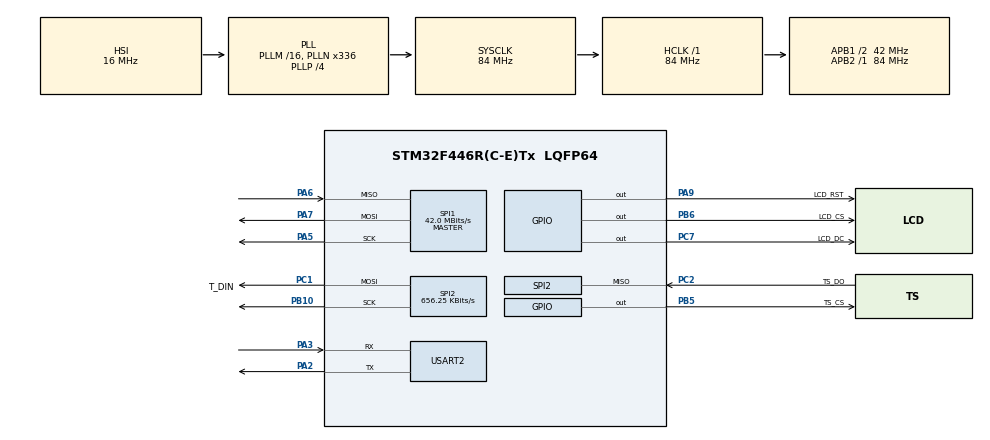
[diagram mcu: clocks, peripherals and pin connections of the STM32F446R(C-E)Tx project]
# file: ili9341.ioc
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Mcu.Family=STM32F4
PA6.Mode=Full_Duplex_Master
RCC.CortexFreq_Value=84000000
PA7.Mode=Full_Duplex_Master
SPI1.VirtualType=VM_MASTER
SPI2.VirtualType=VM_MASTER
PB10.Mode=Full_Duplex_Master
PA9.GPIO_Label=LCD_RST
PC2.Signal=SPI2_MISO
PC2.Mode=Full_Duplex_Master
PB6.GPIO_Label=LCD_CS
RCC.APB1CLKDivider=RCC_HCLK_DIV2
RCC.SYSCLKSource=RCC_SYSCLKSOURCE_PLLCLK
ProjectManager.StackSize=0x400
PA3.Mode=Asynchronous
ProjectManager.TargetToolchain=Makefile
SPI1.Direction=SPI_DIRECTION_2LINES
RCC.HCLKFreq_Value=84000000
RCC.APB2TimFreq_Value=84000000
PA9.Signal=GPIO_Output
PB6.Signal=GPIO_Output
PC7.Signal=GPIO_Output
SPI1.CalculateBaudRate=42.0 MBits/s
RCC.USBFreq_Value=168000000
RCC.AHBFreq_Value=84000000
SPI2.BaudRatePrescaler=SPI_BAUDRATEPRESCALER_64
PB10.Signal=SPI2_SCK
PA5.Signal=SPI1_SCK
RCC.HSE_VALUE=8000000
board=NUCLEO-F446RE
RCC.VCOOutputFreq_Value=336000000
RCC.APB2Freq_Value=84000000
SPI1.Mode=SPI_MODE_MASTER
PC1.GPIO_Label=T_DIN
SPI2.CalculateBaudRate=656.25 KBits/s
Mcu.Name=STM32F446R(C-E)Tx
PA2.Signal=USART2_TX
RCC.FLatency-AdvancedSettings=FLASH_LATENCY_2
PC7.GPIO_Label=LCD_DC
RCC.48MHZClocksFreq_Value=84000000
RCC.SYSCLKFreq_VALUE=84000000
Mcu.Package=LQFP64
PB5.Signal=GPIO_Output
PA6.Signal=SPI1_MISO
SPI2.Mode=SPI_MODE_MASTER
USART2.VirtualMode=VM_ASYNC
ProjectManager.HeapSize=0x200
RCC.HSI_VALUE=16000000
RCC.PLLP=RCC_PLLP_DIV4
NVIC.PriorityGroup=NVIC_PRIORITYGROUP_0
PB5.GPIO_Label=TS_CS
RCC.PLLN=336
RCC.APB1TimFreq_Value=84000000
PA2.Mode=Asynchronous
SPI2.Direction=SPI_DIRECTION_2LINES
RCC.APB1Freq_Value=42000000
PC2.GPIO_Label=TS_DO
PC1.Signal=SPI2_MOSI
PC1.Mode=Full_Duplex_Master
PA3.Signal=USART2_RX
PA5.Mode=Full_Duplex_Master
PA7.Signal=SPI1_MOSI

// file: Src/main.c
/* USER CODE BEGIN Header */
/**
  ******************************************************************************
  * @file           : main.c
  * @brief          : Main program body
  ******************************************************************************
  * @attention
  *
  * <h2><center>&copy; Copyright (c) 2021 STMicroelectronics.
  * All rights reserved.</center></h2>
  *
  * This software component is licensed by ST under BSD 3-Clause license,
  * the "License"; You may not use this file except in compliance with the
  * License. You may obtain a copy of the License at:
  *                        opensource.org/licenses/BSD-3-Clause
  *
  ******************************************************************************
  */
/* USER CODE END Header */
#include "main.h"

/* USER CODE BEGIN Includes */
#include "TSC2046.h"
#include "MY_ILI9341.h"
/* USER CODE END Includes */

SPI_HandleTypeDef hspi1;
SPI_HandleTypeDef hspi2;

UART_HandleTypeDef huart2;

/* USER CODE BEGIN PV */
TS_TOUCH_DATA_Def myTS_Handle;

/* USER CODE END PV */

void SystemClock_Config(void);
static void MX_GPIO_Init(void);
static void MX_SPI1_Init(void);
static void MX_SPI2_Init(void);
static void MX_USART2_UART_Init(void);

int main(void)
{

  /* MCU Configuration--------------------------------------------------------*/

  /* Reset of all peripherals, Initializes the Flash interface and the Systick. */
  HAL_Init();

  /* Configure the system clock */
  SystemClock_Config();

  /* Initialize all configured peripherals */
  MX_GPIO_Init();
  MX_SPI1_Init();
  MX_SPI2_Init();
  MX_USART2_UART_Init();
  /* USER CODE BEGIN 2 */
  ILI9341_Init(&hspi1, LCD_CS_GPIO_Port, LCD_CS_Pin, LCD_DC_GPIO_Port, LCD_DC_Pin, LCD_RST_GPIO_Port, LCD_RST_Pin);
  ILI9341_setRotation(2);
  ILI9341_Fill(COLOR_NAVY);

  TSC2046_Begin(&hspi2, TS_CS_GPIO_Port, TS_CS_Pin);
  TSC2046_Calibrate();
  ILI9341_Fill(COLOR_CYAN);

  /* USER CODE END 2 */

  /* Infinite loop */
  while (1)
  {

    /* USER CODE BEGIN 3 */
    myTS_Handle = TSC2046_GetTouchData();
    if(myTS_Handle.isPressed)
    {
      //Draw a point
      ILI9341_fillCircle(myTS_Handle.X, myTS_Handle.Y,1, COLOR_RED);

      if(myTS_Handle.X >=40 && myTS_Handle.X<=240 && myTS_Handle.Y>=0 && myTS_Handle.Y<=50)
      {
        ILI9341_Fill(COLOR_NAVY);
        ILI9341_Fill_Rect(40, 0, 240, 50, COLOR_BLUE);
      }
    }
  }
  /* USER CODE END 3 */
}

void SystemClock_Config(void)
{
  RCC_OscInitTypeDef RCC_OscInitStruct = {0};
  RCC_ClkInitTypeDef RCC_ClkInitStruct = {0};

  /** Configure the main internal regulator output voltage
  */
  __HAL_RCC_PWR_CLK_ENABLE();
  __HAL_PWR_VOLTAGESCALING_CONFIG(PWR_REGULATOR_VOLTAGE_SCALE3);
  /** Initializes the RCC Oscillators according to the specified parameters
  * in the RCC_OscInitTypeDef structure.
  */
  RCC_OscInitStruct.OscillatorType = RCC_OSCILLATORTYPE_HSI;
  RCC_OscInitStruct.HSIState = RCC_HSI_ON;
  RCC_OscInitStruct.HSICalibrationValue = RCC_HSICALIBRATION_DEFAULT;
  RCC_OscInitStruct.PLL.PLLState = RCC_PLL_ON;
  RCC_OscInitStruct.PLL.PLLSource = RCC_PLLSOURCE_HSI;
  RCC_OscInitStruct.PLL.PLLM = 16;
  RCC_OscInitStruct.PLL.PLLN = 336;
  RCC_OscInitStruct.PLL.PLLP = RCC_PLLP_DIV4;
  RCC_OscInitStruct.PLL.PLLQ = 2;
  RCC_OscInitStruct.PLL.PLLR = 2;
  if (HAL_RCC_OscConfig(&RCC_OscInitStruct) != HAL_OK)
  {
    Error_Handler();
  }
  /** Initializes the CPU, AHB and APB buses clocks
  */
  RCC_ClkInitStruct.ClockType = RCC_CLOCKTYPE_HCLK|RCC_CLOCKTYPE_SYSCLK
                              |RCC_CLOCKTYPE_PCLK1|RCC_CLOCKTYPE_PCLK2;
  RCC_ClkInitStruct.SYSCLKSource = RCC_SYSCLKSOURCE_PLLCLK;
  RCC_ClkInitStruct.AHBCLKDivider = RCC_SYSCLK_DIV1;
  RCC_ClkInitStruct.APB1CLKDivider = RCC_HCLK_DIV2;
  RCC_ClkInitStruct.APB2CLKDivider = RCC_HCLK_DIV1;

  if (HAL_RCC_ClockConfig(&RCC_ClkInitStruct, FLASH_LATENCY_2) != HAL_OK)
  {
    Error_Handler();
  }
}

static void MX_SPI1_Init(void)
{

  /* SPI1 parameter configuration*/
  hspi1.Instance = SPI1;
  hspi1.Init.Mode = SPI_MODE_MASTER;
  hspi1.Init.Direction = SPI_DIRECTION_2LINES;
  hspi1.Init.DataSize = SPI_DATASIZE_8BIT;
  hspi1.Init.CLKPolarity = SPI_POLARITY_LOW;
  hspi1.Init.CLKPhase = SPI_PHASE_1EDGE;
  hspi1.Init.NSS = SPI_NSS_SOFT;
  hspi1.Init.BaudRatePrescaler = SPI_BAUDRATEPRESCALER_2;
  hspi1.Init.FirstBit = SPI_FIRSTBIT_MSB;
  hspi1.Init.TIMode = SPI_TIMODE_DISABLE;
  hspi1.Init.CRCCalculation = SPI_CRCCALCULATION_DISABLE;
  hspi1.Init.CRCPolynomial = 10;
  if (HAL_SPI_Init(&hspi1) != HAL_OK)
  {
    Error_Handler();
  }

}

static void MX_SPI2_Init(void)
{

  /* SPI2 parameter configuration*/
  hspi2.Instance = SPI2;
  hspi2.Init.Mode = SPI_MODE_MASTER;
  hspi2.Init.Direction = SPI_DIRECTION_2LINES;
  hspi2.Init.DataSize = SPI_DATASIZE_8BIT;
  hspi2.Init.CLKPolarity = SPI_POLARITY_LOW;
  hspi2.Init.CLKPhase = SPI_PHASE_1EDGE;
  hspi2.Init.NSS = SPI_NSS_SOFT;
  hspi2.Init.BaudRatePrescaler = SPI_BAUDRATEPRESCALER_64;
  hspi2.Init.FirstBit = SPI_FIRSTBIT_MSB;
  hspi2.Init.TIMode = SPI_TIMODE_DISABLE;
  hspi2.Init.CRCCalculation = SPI_CRCCALCULATION_DISABLE;
  hspi2.Init.CRCPolynomial = 10;
  if (HAL_SPI_Init(&hspi2) != HAL_OK)
  {
    Error_Handler();
  }

}

static void MX_USART2_UART_Init(void)
{

  huart2.Instance = USART2;
  huart2.Init.BaudRate = 115200;
  huart2.Init.WordLength = UART_WORDLENGTH_8B;
  huart2.Init.StopBits = UART_STOPBITS_1;
  huart2.Init.Parity = UART_PARITY_NONE;
  huart2.Init.Mode = UART_MODE_TX_RX;
  huart2.Init.HwFlowCtl = UART_HWCONTROL_NONE;
  huart2.Init.OverSampling = UART_OVERSAMPLING_16;
  if (HAL_UART_Init(&huart2) != HAL_OK)
  {
    Error_Handler();
  }

}

static void MX_GPIO_Init(void)
{
  GPIO_InitTypeDef GPIO_InitStruct = {0};

  /* GPIO Ports Clock Enable */
  __HAL_RCC_GPIOC_CLK_ENABLE();
  __HAL_RCC_GPIOA_CLK_ENABLE();
  __HAL_RCC_GPIOB_CLK_ENABLE();

  /*Configure GPIO pin Output Level */
  HAL_GPIO_WritePin(LCD_DC_GPIO_Port, LCD_DC_Pin, GPIO_PIN_RESET);

  /*Configure GPIO pin Output Level */
  HAL_GPIO_WritePin(LCD_RST_GPIO_Port, LCD_RST_Pin, GPIO_PIN_RESET);

  /*Configure GPIO pin Output Level */
  HAL_GPIO_WritePin(GPIOB, TS_CS_Pin|LCD_CS_Pin, GPIO_PIN_RESET);

  /*Configure GPIO pin : LCD_DC_Pin */
  GPIO_InitStruct.Pin = LCD_DC_Pin;
  GPIO_InitStruct.Mode = GPIO_MODE_OUTPUT_PP;
  GPIO_InitStruct.Pull = GPIO_NOPULL;
  GPIO_InitStruct.Speed = GPIO_SPEED_FREQ_LOW;
  HAL_GPIO_Init(LCD_DC_GPIO_Port, &GPIO_InitStruct);

  /*Configure GPIO pin : LCD_RST_Pin */
  GPIO_InitStruct.Pin = LCD_RST_Pin;
  GPIO_InitStruct.Mode = GPIO_MODE_OUTPUT_PP;
  GPIO_InitStruct.Pull = GPIO_NOPULL;
  GPIO_InitStruct.Speed = GPIO_SPEED_FREQ_LOW;
  HAL_GPIO_Init(LCD_RST_GPIO_Port, &GPIO_InitStruct);

  /*Configure GPIO pins : TS_CS_Pin LCD_CS_Pin */
  GPIO_InitStruct.Pin = TS_CS_Pin|LCD_CS_Pin;
  GPIO_InitStruct.Mode = GPIO_MODE_OUTPUT_PP;
  GPIO_InitStruct.Pull = GPIO_NOPULL;
  GPIO_InitStruct.Speed = GPIO_SPEED_FREQ_LOW;
  HAL_GPIO_Init(GPIOB, &GPIO_InitStruct);

}

void Error_Handler(void)
{
  __disable_irq();
  while (1)
  {
  }
}

/************************ (C) COPYRIGHT STMicroelectronics *****END OF FILE****/
